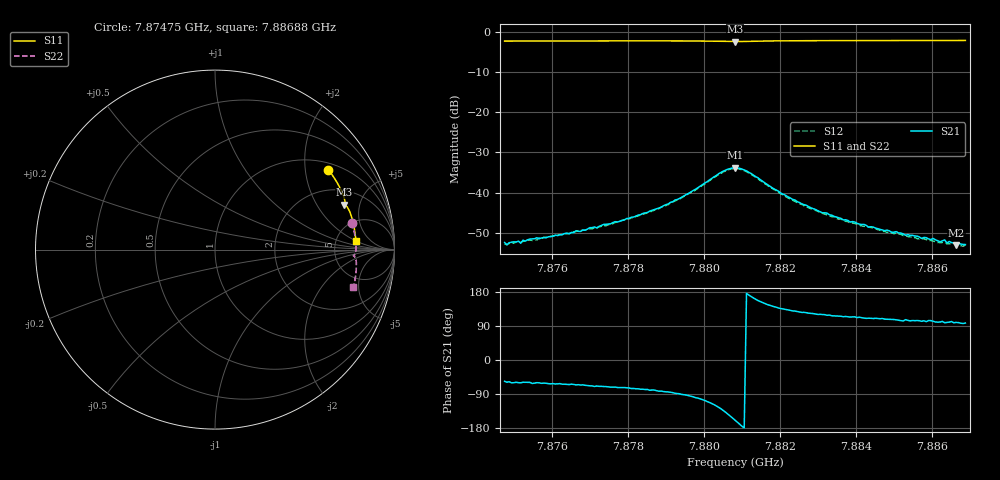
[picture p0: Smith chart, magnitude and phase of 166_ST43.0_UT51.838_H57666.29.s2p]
#  HZ  S  DB  R  50.00
! Rohde & Schwarz Vector Network Analyzer
! Rohde-Schwarz,ZNB20-2Port,1311601062101988,3.16
! Created: UTC 1/12/2023, 6:41:40 PM
! freq[Hz]  db:S11  ang:S11  db:S21  ang:S21  db:S12  ang:S12  db:S22  ang:S22
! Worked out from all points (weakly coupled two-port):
!   201 points, 7.87475 GHz to 7.88688 GHz, reference 50 ohm
!   highest |S21| = -33.82 dB at 7.88081 GHz (marker M1); lowest = -53.1 dB at 7.88664 GHz (marker M2)
!   lowest |S11| = -2.4 dB at 7.88081 GHz (marker M3), VSWR 7.42, Z = 149 + j178 ohm
!   |S11| at or under -10 dB: nowhere
!   |S22| runs from -2.3 to -1.9 dB; largest |S21 - S12| = 0.0013
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7.874748e9  -2.24 35.1  -52.44 -56.2  -52.78 -60.1  -2.19 11.2
7.874809e9  -2.24 35.0  -52.99 -58.6  -53.00 -60.1  -2.18 11.0
7.875112e9  -2.23 34.1  -52.10 -59.9  -52.42 -63.4  -2.17 10.3
7.875173e9  -2.24 34.0  -52.62 -60.1  -52.37 -60.2  -2.17 10.1
7.875234e9  -2.23 33.8  -51.88 -58.7  -52.15 -62.7  -2.17 10.0
7.876811e9  -2.21 29.5  -49.32 -65.7  -49.38 -72.2  -2.13 6.3
7.877417e9  -2.20 27.9  -47.91 -70.1  -48.28 -74.0  -2.11 4.9
7.878812e9  -2.19 24.0  -43.86 -82.4  -43.96 -85.2  -2.08 1.6
7.879722e9  -2.21 21.4  -39.42 -97.4  -39.66 -101.3  -2.11 -0.7
7.88051e9  -2.32 19.4  -34.63 -133.7  -34.83 -137.2  -2.22 -2.4
7.880814e9  -2.36 19.1  -33.82 -158.8  -33.98 -162.1  -2.25 -2.5
7.881117e9  -2.32 18.9  -34.59 175.8  -34.77 172.4  -2.22 -2.6
7.882027e9  -2.18 16.6  -40.17 135.6  -40.33 132.6  -2.07 -4.5
7.882876e9  -2.14 14.2  -44.02 122.4  -44.28 119.0  -2.02 -6.5
7.883846e9  -2.12 11.5  -47.33 113.3  -47.60 110.7  -1.98 -8.7
7.884878e9  -2.10 8.8  -49.54 107.3  -49.82 104.1  -1.97 -11.0
7.886212e9  -2.09 5.3  -52.26 100.2  -52.47 97.0  -1.95 -13.9
7.886333e9  -2.09 5.0  -51.79 98.3  -52.41 95.9  -1.95 -14.2
7.886394e9  -2.09 4.8  -52.55 99.1  -52.77 98.0  -1.95 -14.3
7.886455e9  -2.09 4.7  -52.18 100.0  -52.79 98.6  -1.95 -14.4
7.886636e9  -2.08 4.2  -53.09 99.1  -53.15 97.6  -1.95 -14.9
7.886879e9  -2.09 3.6  -52.95 97.6  -53.08 93.9  -1.95 -15.3
